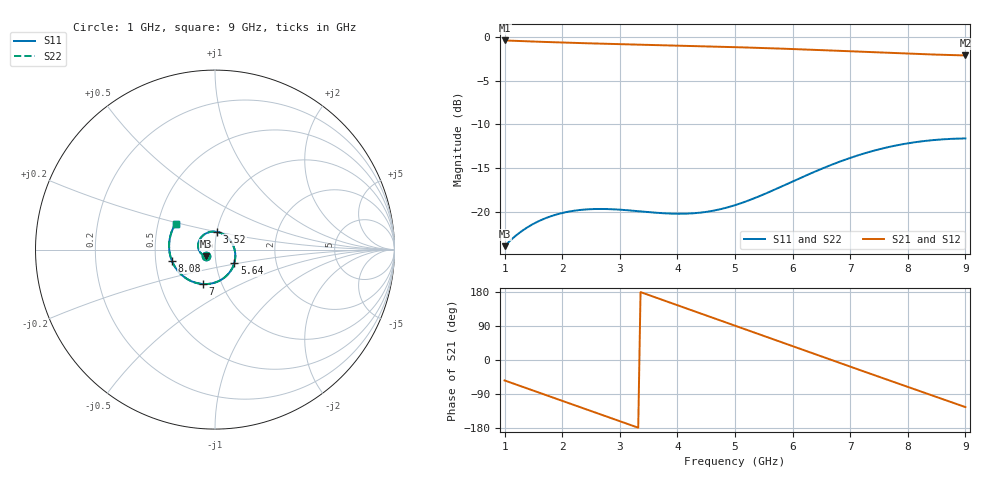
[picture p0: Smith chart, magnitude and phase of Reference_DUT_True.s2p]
! Touchstone 1.1 File - Ground-Truth De-embedded DUT (For Verification)
! TRL Synthetic Dataset | eps_eff = 3.0 | f_c = 5.0 GHz | delta_l = 8.6543 mm
! Reference Impedance: 50 Ohms | Frequency: 1.0 to 9.0 GHz (201 points)
# GHz S RI R 50
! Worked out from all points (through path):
!   201 points, 1 GHz to 9 GHz, reference 50 ohm
!   highest |S21| = -0.39 dB at 1 GHz (marker M1); lowest = -2.1 dB at 9 GHz (marker M2)
!   group delay of S21, straight-line fit = 150 ps
!   lowest |S11| = -24.0 dB at 1 GHz (marker M3), VSWR 1.14, Z = 45 - j3.29 ohm
!   |S11| at or under -10 dB: start of sweep to end of sweep
!   |S22| runs from -24.0 to -11.6 dB; largest |S21 - S12| = 0
!   S11 on the Smith chart (normalised r, x): 1 GHz: 0.90, -0.07; 3.52 GHz: 1.01, +0.20; 5.64 GHz: 1.22, -0.19; 7 GHz: 0.82, -0.33; 8.08 GHz: 0.61, -0.08; 9 GHz: 0.62, +0.19
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1  -0.0518 -0.0365  0.5624 -0.7729  0.5624 -0.7729  -0.0518 -0.0365
1.36  -0.0766 -0.0223  0.2712 -0.9062  0.2712 -0.9062  -0.0766 -0.0223
1.68  -0.0907 0.00084  -0.00891 -0.9377  -0.00891 -0.9377  -0.0907 0.00084
2  -0.0937 0.0291  -0.2834 -0.8861  -0.2834 -0.8861  -0.0937 0.0291
2.36  -0.0828 0.0604  -0.5561 -0.7361  -0.5561 -0.7361  -0.0828 0.0604
2.96  -0.0391 0.095  -0.8522 -0.3218  -0.8522 -0.3218  -0.0391 0.095
3.52  0.0127 0.0983  -0.8889 0.148  -0.8889 0.148  0.0127 0.0983
3.68  0.0271 0.0944  -0.8541 0.2788  -0.8541 0.2788  0.0271 0.0944
4.04  0.0566 0.0789  -0.7079 0.5432  -0.7079 0.5432  0.0566 0.0789
4.4  0.0814 0.0557  -0.4832 0.7426  -0.4832 0.7426  0.0814 0.0557
4.72  0.0985 0.029  -0.2389 0.8472  -0.2389 0.8472  0.0985 0.029
5  0.1088 0.00118  -0.00912 0.8749  -0.00912 0.8749  0.1088 0.00118
5.32  0.1132 -0.0354  0.25 0.8318  0.25 0.8318  0.1132 -0.0354
5.64  0.1073 -0.0758  0.4826 0.714  0.4826 0.714  0.1073 -0.0758
6  0.085 -0.1219  0.6866 0.5072  0.6866 0.5072  0.085 -0.1219
6.36  0.0442 -0.1619  0.808 0.2469  0.808 0.2469  0.0442 -0.1619
6.68  -0.0063 -0.1855  0.8367 -0.00398  0.8367 -0.00398  -0.0063 -0.1855
7  -0.0661 -0.1919  0.7901 -0.2491  0.7901 -0.2491  -0.0661 -0.1919
7.68  -0.1918 -0.1354  0.4774 -0.6556  0.4774 -0.6556  -0.1918 -0.1354
8.08  -0.2406 -0.0616  0.2037 -0.7753  0.2037 -0.7753  -0.2406 -0.0616
8.52  -0.2552 0.0382  -0.1201 -0.7834  -0.1201 -0.7834  -0.2552 0.0382
9  -0.2188 0.1447  -0.4416 -0.648  -0.4416 -0.648  -0.2188 0.1447
